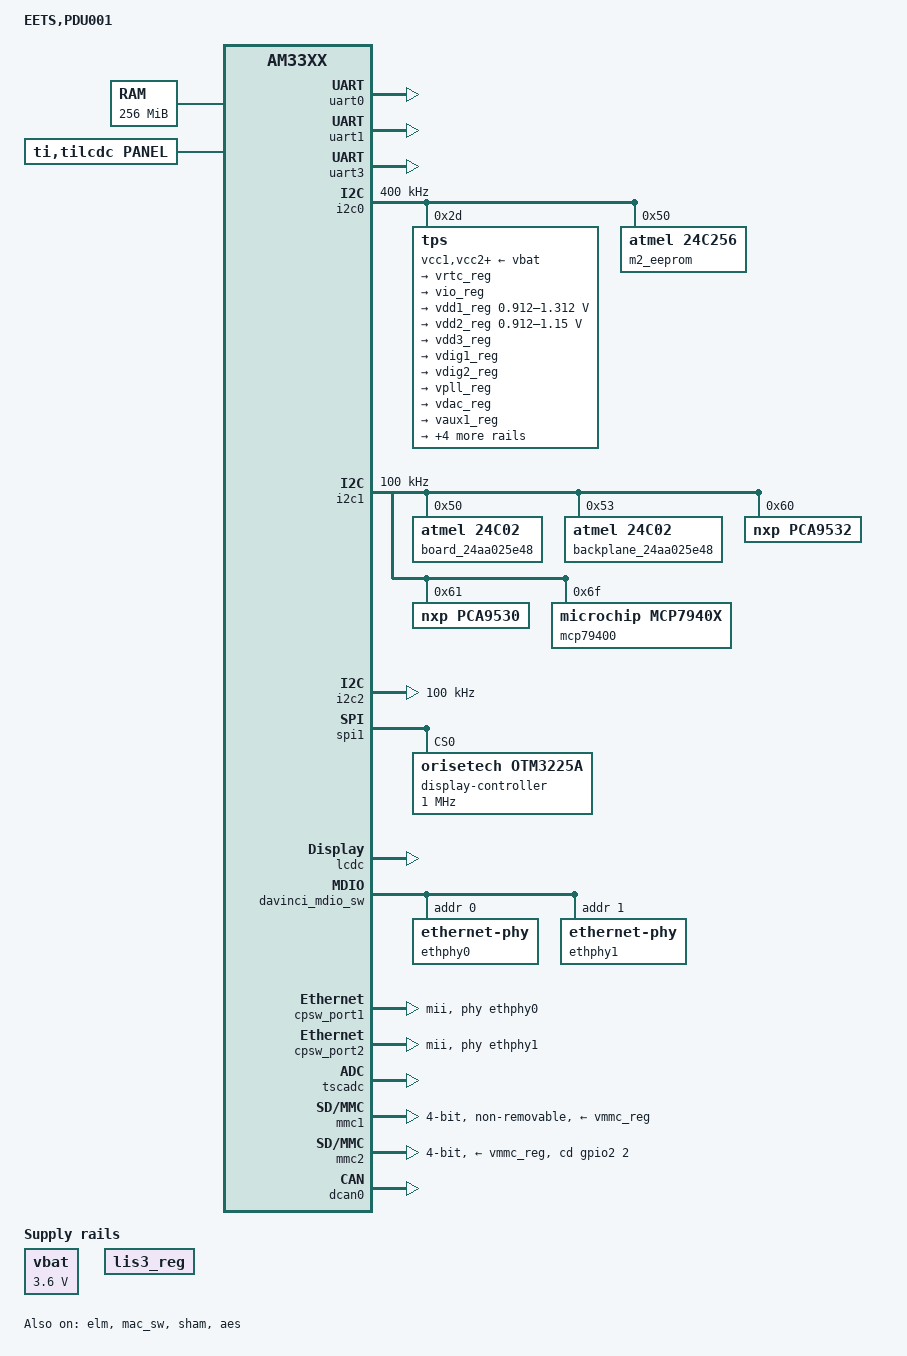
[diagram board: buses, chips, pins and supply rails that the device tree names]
/*
 * pdu001.dts
 *
 * EETS GmbH PDU001 board device tree file
 *
 * Copyright (C) 2018 EETS GmbH - http://www.eets.ch/
 *
 * Copyright (C) 2011, Texas Instruments, Incorporated - https://www.ti.com/
 *
 * SPDX-License-Identifier:  GPL-2.0+
 */

/dts-v1/;

#include "am33xx.dtsi"
#include <dt-bindings/interrupt-controller/irq.h>
#include <dt-bindings/leds/leds-pca9532.h>

/ {
	model = "EETS,PDU001";
	compatible = "ti,am33xx";

	chosen {
		stdout-path = &uart3;
	};

	cpus {
		cpu@0 {
			cpu0-supply = <&vdd1_reg>;
		};
	};

	memory {
		device_type = "memory";
		reg = <0x80000000 0x10000000>; /* 256 MB */
	};

	vbat: fixedregulator@0 {
		compatible = "regulator-fixed";
		regulator-name = "vbat";
		regulator-min-microvolt = <3600000>;
		regulator-max-microvolt = <3600000>;
		regulator-boot-on;
	};

	lis3_reg: fixedregulator@1 {
		compatible = "regulator-fixed";
		regulator-name = "lis3_reg";
		regulator-boot-on;
	};

	panel {
		compatible = "ti,tilcdc,panel";
		status = "okay";
		pinctrl-names = "default";
		pinctrl-0 = <&lcd_pins_s0>;
		panel-info {
			ac-bias           = <255>;
			ac-bias-intrpt    = <0>;
			dma-burst-sz      = <16>;
			bpp               = <16>;
			fdd               = <0x80>;
			sync-edge         = <0>;
			sync-ctrl         = <1>;
			raster-order      = <0>;
			fifo-th           = <0>;
		};

		display-timings {
			240x320p16 {
				clock-frequency = <6500000>;
				hactive = <240>;
				vactive = <320>;
				hfront-porch = <6>;
				hback-porch = <6>;
				hsync-len = <1>;
				vback-porch = <6>;
				vfront-porch = <6>;
				vsync-len = <1>;
				hsync-active = <0>;
				vsync-active = <0>;
				pixelclk-active = <1>;
				de-active = <0>;
			};
		};
	};
};

&am33xx_pinmux {
	pinctrl-names = "default";
	pinctrl-0 = <&clkout2_pin>;

	i2c0_pins: pinmux_i2c0_pins {
		pinctrl-single,pins = <
			AM33XX_PADCONF(AM335X_PIN_I2C0_SDA, PIN_INPUT_PULLUP, MUX_MODE0)
			AM33XX_PADCONF(AM335X_PIN_I2C0_SCL, PIN_INPUT_PULLUP, MUX_MODE0)
		>;
	};

	i2c1_pins: pinmux_i2c1_pins {
		pinctrl-single,pins = <
			AM33XX_PADCONF(AM335X_PIN_SPI0_D1, PIN_INPUT_PULLUP, MUX_MODE2)	/* spi0_d1.i2c1_sda */
			AM33XX_PADCONF(AM335X_PIN_SPI0_CS0, PIN_INPUT_PULLUP, MUX_MODE2)	/* spi0_cs0.i2c1_scl */
		>;
	};

	i2c2_pins: pinmux_i2c2_pins {
		pinctrl-single,pins = <
			AM33XX_PADCONF(AM335X_PIN_SPI0_SCLK, PIN_INPUT_PULLUP, MUX_MODE2)	/* spi0_clk.i2c2_sda */
			AM33XX_PADCONF(AM335X_PIN_SPI0_D0, PIN_INPUT_PULLUP, MUX_MODE2)	/* spi0_d0.i2c2_scl */
		>;
	};

	spi1_pins: pinmux_spi1_pins {
		pinctrl-single,pins = <
			AM33XX_PADCONF(AM335X_PIN_MCASP0_ACLKX, PIN_OUTPUT, MUX_MODE3)		/* mcasp0_aclkx.spi1_sclk */
			AM33XX_PADCONF(AM335X_PIN_MCASP0_FSX, PIN_OUTPUT, MUX_MODE3)		/* mcasp0_fsx.spi1_d0 */
			AM33XX_PADCONF(AM335X_PIN_MCASP0_AXR0, PIN_INPUT_PULLDOWN, MUX_MODE3)	/* mcasp0_axr0.spi1_d1 */
			AM33XX_PADCONF(AM335X_PIN_MCASP0_AHCLKR, PIN_OUTPUT, MUX_MODE3)		/* mcasp0_ahclkr.spi1_cs0 */
		>;
	};

	uart0_pins: pinmux_uart0_pins {
		pinctrl-single,pins = <
			AM33XX_PADCONF(AM335X_PIN_UART0_RTSN, PIN_OUTPUT, MUX_MODE7)
			AM33XX_PADCONF(AM335X_PIN_UART0_RXD, PIN_INPUT_PULLUP, MUX_MODE0)
			AM33XX_PADCONF(AM335X_PIN_UART0_TXD, PIN_OUTPUT_PULLDOWN, MUX_MODE0)
		>;
	};

	uart1_pins: pinmux_uart1_pins {
		pinctrl-single,pins = <
			AM33XX_PADCONF(AM335X_PIN_UART1_RXD, PIN_INPUT_PULLUP, MUX_MODE0)
			AM33XX_PADCONF(AM335X_PIN_UART1_TXD, PIN_OUTPUT_PULLDOWN, MUX_MODE0)
		>;
	};

	uart3_pins: pinmux_uart3_pins {
		pinctrl-single,pins = <
			AM33XX_PADCONF(AM335X_PIN_SPI0_CS1, PIN_INPUT_PULLUP, MUX_MODE1)	/* spi0_cs1.uart3_rxd */
			AM33XX_PADCONF(AM335X_PIN_ECAP0_IN_PWM0_OUT, PIN_OUTPUT_PULLDOWN, MUX_MODE1)	/* ecap0_in_pwm0_out.uart3_txd */
		>;
	};

	clkout2_pin: pinmux_clkout2_pin {
		pinctrl-single,pins = <
			AM33XX_PADCONF(AM335X_PIN_XDMA_EVENT_INTR1, PIN_OUTPUT_PULLDOWN, MUX_MODE3)	/* xdma_event_intr1.clkout2 */
		>;
	};

	cpsw_default: cpsw_default {
		pinctrl-single,pins = <
			/* Port 1 (emac0) */
			AM33XX_PADCONF(AM335X_PIN_MII1_COL, PIN_INPUT, MUX_MODE0)
			AM33XX_PADCONF(AM335X_PIN_MII1_CRS, PIN_INPUT, MUX_MODE0)
			AM33XX_PADCONF(AM335X_PIN_MII1_RX_ER, PIN_INPUT, MUX_MODE0)
			AM33XX_PADCONF(AM335X_PIN_MII1_TX_EN, PIN_OUTPUT, MUX_MODE0)
			AM33XX_PADCONF(AM335X_PIN_MII1_RX_DV, PIN_INPUT, MUX_MODE0)
			AM33XX_PADCONF(AM335X_PIN_MII1_TXD3, PIN_OUTPUT, MUX_MODE0)
			AM33XX_PADCONF(AM335X_PIN_MII1_TXD2, PIN_OUTPUT, MUX_MODE0)
			AM33XX_PADCONF(AM335X_PIN_MII1_TXD1, PIN_OUTPUT, MUX_MODE0)
			AM33XX_PADCONF(AM335X_PIN_MII1_TXD0, PIN_OUTPUT, MUX_MODE0)
			AM33XX_PADCONF(AM335X_PIN_MII1_TX_CLK, PIN_INPUT, MUX_MODE0)
			AM33XX_PADCONF(AM335X_PIN_MII1_RX_CLK, PIN_INPUT, MUX_MODE0)
			AM33XX_PADCONF(AM335X_PIN_MII1_RXD3, PIN_INPUT, MUX_MODE0)
			AM33XX_PADCONF(AM335X_PIN_MII1_RXD2, PIN_INPUT, MUX_MODE0)
			AM33XX_PADCONF(AM335X_PIN_MII1_RXD1, PIN_INPUT, MUX_MODE0)
			AM33XX_PADCONF(AM335X_PIN_MII1_RXD0, PIN_INPUT, MUX_MODE0)

			/* Port 2 (emac1) */
			AM33XX_PADCONF(AM335X_PIN_GPMC_A0, PIN_OUTPUT, MUX_MODE1)		/* mii2_txen.gpmc_a0 */
			AM33XX_PADCONF(AM335X_PIN_GPMC_A1, PIN_INPUT, MUX_MODE1)		/* mii2_rxdv.gpmc_a1 */
			AM33XX_PADCONF(AM335X_PIN_GPMC_A2, PIN_OUTPUT, MUX_MODE1)		/* mii2_txd3.gpmc_a2 */
			AM33XX_PADCONF(AM335X_PIN_GPMC_A3, PIN_OUTPUT, MUX_MODE1)		/* mii2_txd2.gpmc_a3 */
			AM33XX_PADCONF(AM335X_PIN_GPMC_A4, PIN_OUTPUT, MUX_MODE1)		/* mii2_txd1.gpmc_a4 */
			AM33XX_PADCONF(AM335X_PIN_GPMC_A5, PIN_OUTPUT, MUX_MODE1)		/* mii2_txd0.gpmc_a5 */
			AM33XX_PADCONF(AM335X_PIN_GPMC_A6, PIN_INPUT, MUX_MODE1)		/* mii2_txclk.gpmc_a6 */
			AM33XX_PADCONF(AM335X_PIN_GPMC_A7, PIN_INPUT, MUX_MODE1)		/* mii2_rxclk.gpmc_a7 */
			AM33XX_PADCONF(AM335X_PIN_GPMC_A8, PIN_INPUT, MUX_MODE1)		/* mii2_rxd3.gpmc_a8 */
			AM33XX_PADCONF(AM335X_PIN_GPMC_A9, PIN_INPUT, MUX_MODE1)		/* mii2_rxd2.gpmc_a9 */
			AM33XX_PADCONF(AM335X_PIN_GPMC_A10, PIN_INPUT, MUX_MODE1)		/* mii2_rxd1.gpmc_a10 */
			AM33XX_PADCONF(AM335X_PIN_GPMC_A11, PIN_INPUT, MUX_MODE1)		/* mii2_rxd0.gpmc_a11 */
			AM33XX_PADCONF(AM335X_PIN_GPMC_WAIT0, PIN_INPUT, MUX_MODE1)		/* mii2_crs.gpmc_wait0 */
			AM33XX_PADCONF(AM335X_PIN_GPMC_WPN, PIN_INPUT, MUX_MODE1)		/* mii2_rxer.gpmc_wpn */
			AM33XX_PADCONF(AM335X_PIN_GPMC_BEN1, PIN_INPUT, MUX_MODE1)		/* mii2_col.gpmc_ben1 */
		>;
	};

	davinci_mdio_default: davinci_mdio_default {
		pinctrl-single,pins = <
			AM33XX_PADCONF(AM335X_PIN_MDIO, PIN_INPUT_PULLUP | SLEWCTRL_FAST, MUX_MODE0)
			AM33XX_PADCONF(AM335X_PIN_MDC, PIN_OUTPUT_PULLUP, MUX_MODE0)
		>;
	};

	mmc1_pins: pinmux_mmc1_pins {
		/* eMMC */
		pinctrl-single,pins = <
			AM33XX_PADCONF(AM335X_PIN_MMC0_DAT3, PIN_INPUT_PULLUP, MUX_MODE0)
			AM33XX_PADCONF(AM335X_PIN_MMC0_DAT2, PIN_INPUT_PULLUP, MUX_MODE0)
			AM33XX_PADCONF(AM335X_PIN_MMC0_DAT1, PIN_INPUT_PULLUP, MUX_MODE0)
			AM33XX_PADCONF(AM335X_PIN_MMC0_DAT0, PIN_INPUT_PULLUP, MUX_MODE0)
			AM33XX_PADCONF(AM335X_PIN_MMC0_CLK, PIN_INPUT_PULLUP, MUX_MODE0)
			AM33XX_PADCONF(AM335X_PIN_MMC0_CMD, PIN_INPUT_PULLUP, MUX_MODE0)
		>;
	};

	mmc2_pins: pinmux_mmc2_pins {
		/* SD cardcage */
		pinctrl-single,pins = <
			AM33XX_PADCONF(AM335X_PIN_GPMC_AD3, PIN_INPUT_PULLUP, MUX_MODE1)	/* gpmc_ad3.mmc1_dat3 */
			AM33XX_PADCONF(AM335X_PIN_GPMC_AD2, PIN_INPUT_PULLUP, MUX_MODE1)	/* gpmc_ad2.mmc1_dat2 */
			AM33XX_PADCONF(AM335X_PIN_GPMC_AD1, PIN_INPUT_PULLUP, MUX_MODE1)	/* gpmc_ad1.mmc1_dat1 */
			AM33XX_PADCONF(AM335X_PIN_GPMC_AD0, PIN_INPUT_PULLUP, MUX_MODE1)	/* gpmc_ad0.mmc1_dat0 */
			AM33XX_PADCONF(AM335X_PIN_GPMC_CSN1, PIN_INPUT_PULLUP, MUX_MODE2)	/* gpmc_csn1.mmc1_clk */
			AM33XX_PADCONF(AM335X_PIN_GPMC_CSN2, PIN_INPUT_PULLUP, MUX_MODE2)	/* gpmc_csn2.mmc1_cmd */
			/* card change signal for frontpanel SD cardcage */
			AM33XX_PADCONF(AM335X_PIN_GPMC_ADVN_ALE, PIN_INPUT, MUX_MODE7)		/* gpmc_advn_ale.gpio2_2 */
		>;
	};

	lcd_pins_s0: lcd_pins_s0 {
		pinctrl-single,pins = <
			AM33XX_PADCONF(AM335X_PIN_LCD_DATA0, PIN_OUTPUT, MUX_MODE0)
			AM33XX_PADCONF(AM335X_PIN_LCD_DATA1, PIN_OUTPUT, MUX_MODE0)
			AM33XX_PADCONF(AM335X_PIN_LCD_DATA2, PIN_OUTPUT, MUX_MODE0)
			AM33XX_PADCONF(AM335X_PIN_LCD_DATA3, PIN_OUTPUT, MUX_MODE0)
			AM33XX_PADCONF(AM335X_PIN_LCD_DATA4, PIN_OUTPUT, MUX_MODE0)
			AM33XX_PADCONF(AM335X_PIN_LCD_DATA5, PIN_OUTPUT, MUX_MODE0)
			AM33XX_PADCONF(AM335X_PIN_LCD_DATA6, PIN_OUTPUT, MUX_MODE0)
			AM33XX_PADCONF(AM335X_PIN_LCD_DATA7, PIN_OUTPUT, MUX_MODE0)
			AM33XX_PADCONF(AM335X_PIN_LCD_DATA8, PIN_OUTPUT, MUX_MODE0)
			AM33XX_PADCONF(AM335X_PIN_LCD_DATA9, PIN_OUTPUT, MUX_MODE0)
			AM33XX_PADCONF(AM335X_PIN_LCD_DATA10, PIN_OUTPUT, MUX_MODE0)
			AM33XX_PADCONF(AM335X_PIN_LCD_DATA11, PIN_OUTPUT, MUX_MODE0)
			AM33XX_PADCONF(AM335X_PIN_LCD_DATA12, PIN_OUTPUT, MUX_MODE0)
			AM33XX_PADCONF(AM335X_PIN_LCD_DATA13, PIN_OUTPUT, MUX_MODE0)
			AM33XX_PADCONF(AM335X_PIN_LCD_DATA14, PIN_OUTPUT, MUX_MODE0)
			AM33XX_PADCONF(AM335X_PIN_LCD_DATA15, PIN_OUTPUT, MUX_MODE0)
			AM33XX_PADCONF(AM335X_PIN_LCD_VSYNC, PIN_OUTPUT, MUX_MODE0)
			AM33XX_PADCONF(AM335X_PIN_LCD_HSYNC, PIN_OUTPUT, MUX_MODE0)
			AM33XX_PADCONF(AM335X_PIN_LCD_PCLK, PIN_OUTPUT, MUX_MODE0)
			AM33XX_PADCONF(AM335X_PIN_LCD_AC_BIAS_EN, PIN_OUTPUT, MUX_MODE0)
		>;
	};

	dcan0_pins: pinmux_dcan0_pins {
		pinctrl-single,pins = <
			AM33XX_PADCONF(AM335X_PIN_UART1_CTSN, PIN_OUTPUT, MUX_MODE2)		/* uart1_ctsn.d_can0_tx */
			AM33XX_PADCONF(AM335X_PIN_UART1_RTSN, PIN_INPUT_PULLDOWN, MUX_MODE2)	/* uart1_rtsn.d_can0_rx */
		>;
	};
};

&uart0 {
	pinctrl-names = "default";
	pinctrl-0 = <&uart0_pins>;

	rts-gpio = <&gpio1 9 GPIO_ACTIVE_HIGH>;
	rs485-rts-active-high;
	rs485-rts-delay = <0 0>;
	linux,rs485-enabled-at-boot-time;

	status = "okay";
};

&uart1 {
	pinctrl-names = "default";
	pinctrl-0 = <&uart1_pins>;

	status = "okay";
};

&uart3 {
	pinctrl-names = "default";
	pinctrl-0 = <&uart3_pins>;

	status = "okay";
};

&i2c0 {
	pinctrl-names = "default";
	pinctrl-0 = <&i2c0_pins>;

	status = "okay";
	clock-frequency = <400000>;

	tps: tps@2d {
		reg = <0x2d>;
	};

	m2_eeprom: m2_eeprom@50 {
		compatible = "atmel,24c256";
		reg = <0x50>;
		status = "okay";
	};
};

&i2c1 {
	pinctrl-names = "default";
	pinctrl-0 = <&i2c1_pins>;

	status = "okay";
	clock-frequency = <100000>;

	board_24aa025e48: board_24aa025e48@50 {
		compatible = "atmel,24c02";
		reg = <0x50>;
	};

	backplane_24aa025e48: backplane_24aa025e48@53 {
		compatible = "atmel,24c02";
		reg = <0x53>;
	};

	pca9532: pca9532@60 {
		compatible = "nxp,pca9532";
		reg = <0x60>;
		psc0 = <0x97>;
		pwm0 = <0x80>;
		psc1 = <0x97>;
		pwm1 = <0x10>;

		run.red@0 {
			type = <PCA9532_TYPE_LED>;
		};
		run.green@1 {
			type = <PCA9532_TYPE_LED>;
			default-state = "on";
		};
		s2.red@2 {
			type = <PCA9532_TYPE_LED>;
		};
		s2.green@3 {
			type = <PCA9532_TYPE_LED>;
		};
		s1.yellow@4 {
			type = <PCA9532_TYPE_LED>;
		};
		s1.green@5 {
			type = <PCA9532_TYPE_LED>;
		};
	};

	pca9530: pca9530@61 {
		compatible = "nxp,pca9530";
		reg = <0x61>;

		tft-panel@0 {
			type = <PCA9532_TYPE_LED>;
			linux,default-trigger = "backlight";
			default-state = "on";
		};
	};

	mcp79400: mcp79400@6f {
		compatible = "microchip,mcp7940x";
		reg = <0x6f>;
	};
};

&i2c2 {
	pinctrl-names = "default";
	pinctrl-0 = <&i2c2_pins>;

	status = "okay";
	clock-frequency = <100000>;
};

&spi1 {
	pinctrl-names = "default";
	pinctrl-0 = <&spi1_pins>;
	ti,pindir-d0-out-d1-in;
	status = "okay";

	display-controller@0 {
		compatible = "orisetech,otm3225a";
		reg = <0>;
		spi-max-frequency = <1000000>;
		// SPI mode 3
		spi-cpol;
		spi-cpha;
		status = "okay";
	};
};

/*
 * Disable soc's rtc as we have no VBAT for it. This makes the board
 * rtc (Microchip MCP79400) the default rtc device 'rtc0'.
 */
&rtc {
	status = "disabled";
};

&lcdc {
	status = "okay";
};

&elm {
	status = "okay";
};

#include "tps65910.dtsi"

&tps {
	vcc1-supply = <&vbat>;
	vcc2-supply = <&vbat>;
	vcc3-supply = <&vbat>;
	vcc4-supply = <&vbat>;
	vcc5-supply = <&vbat>;
	vcc6-supply = <&vbat>;
	vcc7-supply = <&vbat>;
	vccio-supply = <&vbat>;

	regulators {
		vrtc_reg: regulator@0 {
			regulator-name = "ldo_vrtc";
			regulator-always-on;
		};

		vio_reg: regulator@1 {
			regulator-name = "buck_vdd_ddr";
			regulator-always-on;
		};

		vdd1_reg: regulator@2 {
			/* VDD_MPU voltage limits */
			regulator-name = "buck_vdd_mpu";
			regulator-min-microvolt = <912500>;
			regulator-max-microvolt = <1312500>;
			regulator-boot-on;
			regulator-always-on;
		};

		vdd2_reg: regulator@3 {
			/* VDD_CORE voltage limits */
			regulator-name = "buck_vdd_core";
			regulator-min-microvolt = <912500>;
			regulator-max-microvolt = <1150000>;
			regulator-boot-on;
			regulator-always-on;
		};

		vdd3_reg: regulator@4 {
			regulator-name = "boost_res";
			regulator-always-on;
		};

		vdig1_reg: regulator@5 {
			regulator-name = "ldo_vdig1";
			regulator-always-on;
		};

		vdig2_reg: regulator@6 {
			regulator-name = "ldo_vdig2";
			regulator-always-on;
		};

		vpll_reg: regulator@7 {
			regulator-name = "ldo_vpll";
			regulator-always-on;
		};

		vdac_reg: regulator@8 {
			regulator-name = "ldo_vdac";
			regulator-always-on;
		};

		vaux1_reg: regulator@9 {
			regulator-name = "ldo_vaux1";
			regulator-always-on;
		};

		vaux2_reg: regulator@10 {
			regulator-name = "ldo_vaux2";
			regulator-always-on;
		};

		vaux33_reg: regulator@11 {
			regulator-name = "ldo_vaux33";
			regulator-always-on;
		};

		vmmc_reg: regulator@12 {
			regulator-name = "ldo_vmmc";
			regulator-min-microvolt = <1800000>;
			regulator-max-microvolt = <3300000>;
			regulator-always-on;
		};

		vbb_reg: regulator@13 {
			regulator-name = "bat_vbb";
		};
	};
};

&mac_sw {
	pinctrl-names = "default";
	pinctrl-0 = <&cpsw_default>;
	status = "okay";
};

&davinci_mdio_sw {
	pinctrl-names = "default";
	pinctrl-0 = <&davinci_mdio_default>;

	ethphy0: ethernet-phy@0 {
		reg = <0>;
	};

	ethphy1: ethernet-phy@1 {
		reg = <1>;
	};
};

&cpsw_port1 {
	phy-handle = <&ethphy0>;
	phy-mode = "mii";
	ti,dual-emac-pvid = <1>;
};

&cpsw_port2 {
	phy-handle = <&ethphy1>;
	phy-mode = "mii";
	ti,dual-emac-pvid = <2>;
};

&tscadc {
	status = "okay";
	tsc {
		ti,wires = <4>;
		ti,x-plate-resistance = <200>;
		ti,coordinate-readouts = <5>;
		ti,wire-config = <0x01 0x10 0x22 0x33>;
		ti,charge-delay = <0x400>;
	};

	adc {
		ti,adc-channels = <4 5 6 7>;
	};
};

&mmc1 {
	status = "okay";
	vmmc-supply = <&vmmc_reg>;
	bus-width = <4>;
	pinctrl-names = "default";
	pinctrl-0 = <&mmc1_pins>;
	non-removable;
};

&mmc2 {
	status = "okay";
	vmmc-supply = <&vmmc_reg>;
	bus-width = <4>;
	pinctrl-names = "default";
	pinctrl-0 = <&mmc2_pins>;
	cd-gpios = <&gpio2 2 GPIO_ACTIVE_HIGH>;
};

&sham {
	status = "okay";
};

&aes {
	status = "okay";
};

&dcan0 {
	status = "okay";
	pinctrl-names = "default";
	pinctrl-0 = <&dcan0_pins>;
};
